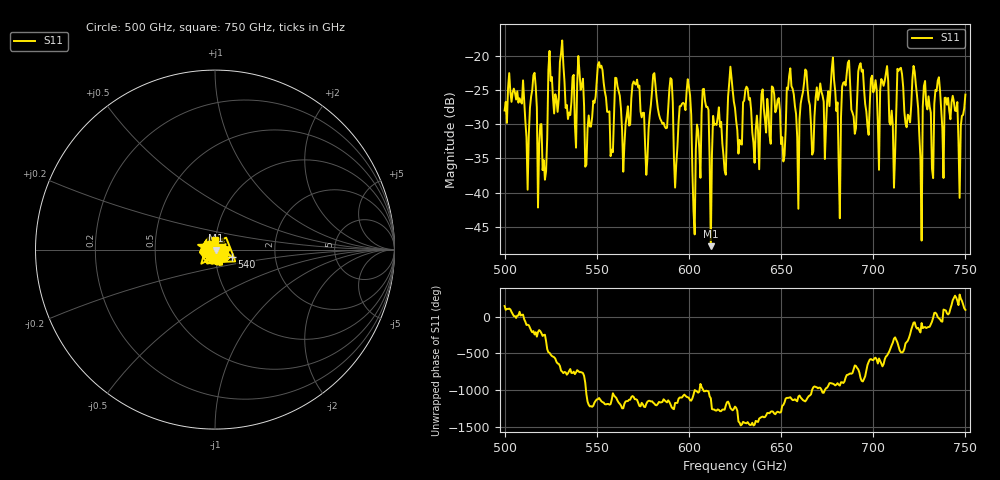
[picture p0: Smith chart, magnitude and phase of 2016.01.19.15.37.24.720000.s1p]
!Created with skrf (http://scikit-rf.org).
# GHz S RI R 50.0
!freq ReS11 ImS11
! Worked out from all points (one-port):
!   401 points, 500 GHz to 750 GHz, reference 50 ohm
!   lowest |S11| = -47.9 dB at 611.9 GHz (marker M1), VSWR 1.01, Z = 50.3 - j0.231 ohm
!   |S11| at or under -10 dB: start of sweep to end of sweep
!   S11 on the Smith chart (normalised r, x): 500 GHz: 0.94, +0.04; 540 GHz: 1.20, -0.10; 750 GHz: 0.99, +0.10
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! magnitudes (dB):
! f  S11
! 500 GHz  -28.0
! 512.5 GHz  -39.6
! 515.6 GHz  -22.8
! 521.9 GHz  -38.1
! 525 GHz  -23.6
! 531.2 GHz  -17.7
! 540 GHz  -20.0
! 545 GHz  -30.6
! 551.9 GHz  -21.7
! 557.5 GHz  -34.7
! 562.5 GHz  -25.8
! 577.5 GHz  -35.0
! 590 GHz  -23.2
! 593.8 GHz  -33.3
! 600 GHz  -24.5
! 603.1 GHz  -46.1
! 608.8 GHz  -26.6
! 611.9 GHz  -47.9
! 625 GHz  -27.6
! 651.2 GHz  -35.4
! 656.2 GHz  -24.8
! 658.8 GHz  -31.8
! 678.1 GHz  -20.2
! 681.2 GHz  -35.8
! 687.5 GHz  -24.4
! 714.4 GHz  -21.8
! 718.8 GHz  -28.6
! 750 GHz  -25.6
